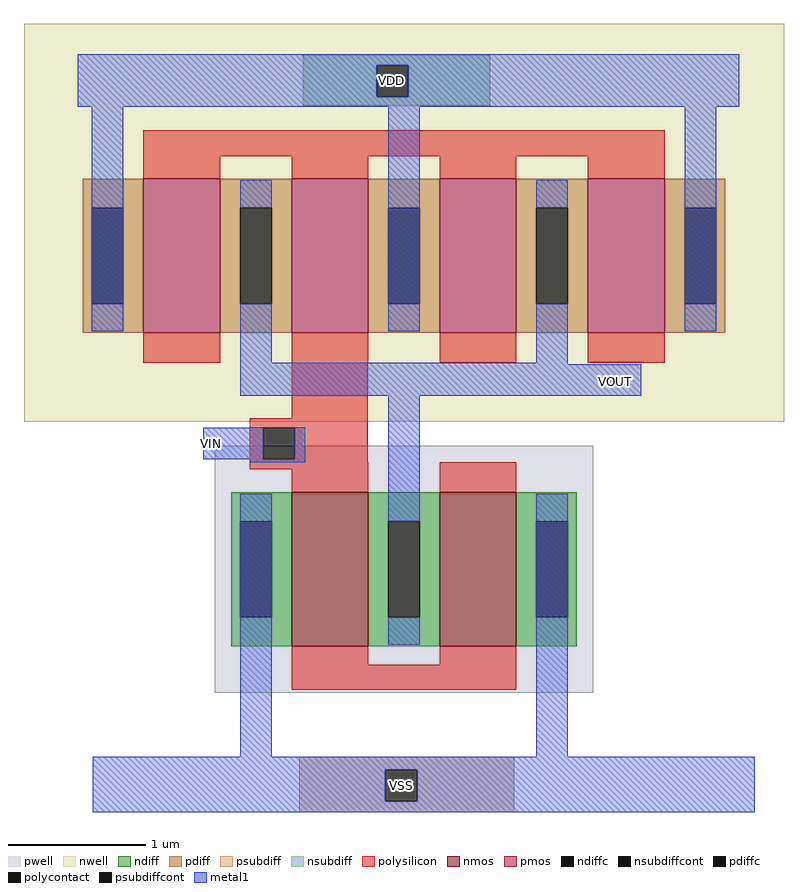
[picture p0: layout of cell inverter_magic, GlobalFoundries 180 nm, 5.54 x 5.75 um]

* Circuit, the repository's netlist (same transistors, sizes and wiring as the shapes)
* NGSPICE file created from inverter_magic.ext - technology: gf180mcuD

.subckt pmos_3p3_VH67F7 a_380_n112# a_164_n112# a_n164_n156# a_n380_n156# a_52_n156#
+ a_n268_n112# w_n554_n242# a_268_n156# a_n52_n112# a_n468_n112#
X0 a_164_n112# a_52_n156# a_n52_n112# w_n554_n242# pfet_03v3 ad=0.2912p pd=1.64u as=0.2912p ps=1.64u w=1.12u l=0.56u
X1 a_380_n112# a_268_n156# a_164_n112# w_n554_n242# pfet_03v3 ad=0.4928p pd=3.12u as=0.2912p ps=1.64u w=1.12u l=0.56u
X2 a_n268_n112# a_n380_n156# a_n468_n112# w_n554_n242# pfet_03v3 ad=0.2912p pd=1.64u as=0.4928p ps=3.12u w=1.12u l=0.56u
X3 a_n52_n112# a_n164_n156# a_n268_n112# w_n554_n242# pfet_03v3 ad=0.2912p pd=1.64u as=0.2912p ps=1.64u w=1.12u l=0.56u
.ends

.subckt nmos_3p3_F2UGVV a_164_n112# a_n164_n156# a_n252_n112# a_52_n156# a_n52_n112#
+ VSUBS
X0 a_164_n112# a_52_n156# a_n52_n112# VSUBS nfet_03v3 ad=0.4928p pd=3.12u as=0.2912p ps=1.64u w=1.12u l=0.56u
X1 a_n52_n112# a_n164_n156# a_n252_n112# VSUBS nfet_03v3 ad=0.2912p pd=1.64u as=0.4928p ps=3.12u w=1.12u l=0.56u
.ends

.subckt inverter_magic VIN VOUT
Xpmos_3p3_VH67F7_0 VDD VOUT VIN VIN VIN VOUT VDD VIN VDD VDD pmos_3p3_VH67F7
Xnmos_3p3_F2UGVV_0 VSS VIN VSS VIN VOUT VSS nmos_3p3_F2UGVV
.ends

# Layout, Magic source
magic
tech gf180mcuD
magscale 1 10
<< nwell >>
rect 0 484 1108 580
rect 400 470 680 484
rect 407 461 680 470
<< psubdiff >>
rect 401 -507 715 -488
rect 401 -553 527 -507
rect 573 -553 715 -507
rect 401 -569 715 -553
<< nsubdiff >>
rect 407 520 680 535
rect 407 474 514 520
rect 560 474 680 520
rect 407 461 680 474
<< psubdiffcont >>
rect 527 -553 573 -507
<< nsubdiffcont >>
rect 514 474 560 520
<< polysilicon >>
rect 174 387 934 425
rect 390 5 501 89
rect 329 -9 501 5
rect 329 -55 349 -9
rect 395 -55 501 -9
rect 329 -59 501 -55
rect 329 -69 411 -59
rect 390 -391 718 -354
<< polycontact >>
rect 349 -55 395 -9
<< metal1 >>
rect 78 520 1043 536
rect 78 474 514 520
rect 560 474 1043 520
rect 78 459 1043 474
rect 99 143 145 459
rect 315 86 361 144
rect 531 143 577 459
rect 963 143 1009 459
rect 747 86 793 143
rect 315 84 793 86
rect 315 38 900 84
rect 329 -9 410 -8
rect 261 -55 349 -9
rect 395 -55 410 -9
rect 329 -59 410 -55
rect 315 -488 361 -105
rect 531 -116 577 38
rect 747 -488 793 -105
rect 100 -507 1065 -488
rect 100 -553 527 -507
rect 573 -553 1065 -507
rect 100 -569 1065 -553
use nmos_3p3_F2UGVV  nmos_3p3_F2UGVV_0
transform 1 0 554 0 1 -215
box -276 -180 276 180
use pmos_3p3_VH67F7  pmos_3p3_VH67F7_0
transform 1 0 554 0 1 242
box -554 -242 554 242
<< labels >>
flabel nsubdiffcont 536 497 536 497 0 FreeSans 750 0 0 0 VDD
flabel psubdiffcont 551 -530 551 -530 0 FreeSans 750 0 0 0 VSS
flabel metal1 s 273 -31 273 -31 0 FreeSans 750 0 0 0 VIN
port 1 nsew
flabel metal1 s 862 59 862 59 0 FreeSans 750 0 0 0 VOUT
port 2 nsew
<< end >>

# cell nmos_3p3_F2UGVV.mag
magic
tech gf180mcuD
magscale 1 10
<< pwell >>
rect -276 -180 276 180
<< nmos >>
rect -164 -112 -52 112
rect 52 -112 164 112
<< ndiff >>
rect -252 70 -164 112
rect -252 -70 -239 70
rect -193 -70 -164 70
rect -252 -112 -164 -70
rect -52 70 52 112
rect -52 -70 -23 70
rect 23 -70 52 70
rect -52 -112 52 -70
rect 164 70 252 112
rect 164 -70 193 70
rect 239 -70 252 70
rect 164 -112 252 -70
<< ndiffc >>
rect -239 -70 -193 70
rect -23 -70 23 70
rect 193 -70 239 70
<< polysilicon >>
rect -164 112 -52 156
rect 52 112 164 156
rect -164 -156 -52 -112
rect 52 -156 164 -112
<< metal1 >>
rect -239 70 -193 110
rect -239 -110 -193 -70
rect -23 70 23 110
rect -23 -110 23 -70
rect 193 70 239 110
rect 193 -110 239 -70
<< end >>

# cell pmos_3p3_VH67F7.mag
magic
tech gf180mcuD
magscale 1 10
<< nwell >>
rect -554 -242 554 242
<< pmos >>
rect -380 -112 -268 112
rect -164 -112 -52 112
rect 52 -112 164 112
rect 268 -112 380 112
<< pdiff >>
rect -468 70 -380 112
rect -468 -70 -455 70
rect -409 -70 -380 70
rect -468 -112 -380 -70
rect -268 70 -164 112
rect -268 -70 -239 70
rect -193 -70 -164 70
rect -268 -112 -164 -70
rect -52 70 52 112
rect -52 -70 -23 70
rect 23 -70 52 70
rect -52 -112 52 -70
rect 164 70 268 112
rect 164 -70 193 70
rect 239 -70 268 70
rect 164 -112 268 -70
rect 380 70 468 112
rect 380 -70 409 70
rect 455 -70 468 70
rect 380 -112 468 -70
<< pdiffc >>
rect -455 -70 -409 70
rect -239 -70 -193 70
rect -23 -70 23 70
rect 193 -70 239 70
rect 409 -70 455 70
<< polysilicon >>
rect -380 112 -268 156
rect -164 112 -52 156
rect 52 112 164 156
rect 268 112 380 156
rect -380 -156 -268 -112
rect -164 -156 -52 -112
rect 52 -156 164 -112
rect 268 -156 380 -112
<< metal1 >>
rect -455 70 -409 110
rect -455 -110 -409 -70
rect -239 70 -193 110
rect -239 -110 -193 -70
rect -23 70 23 110
rect -23 -110 23 -70
rect 193 70 239 110
rect 193 -110 239 -70
rect 409 70 455 110
rect 409 -110 455 -70
<< end >>
